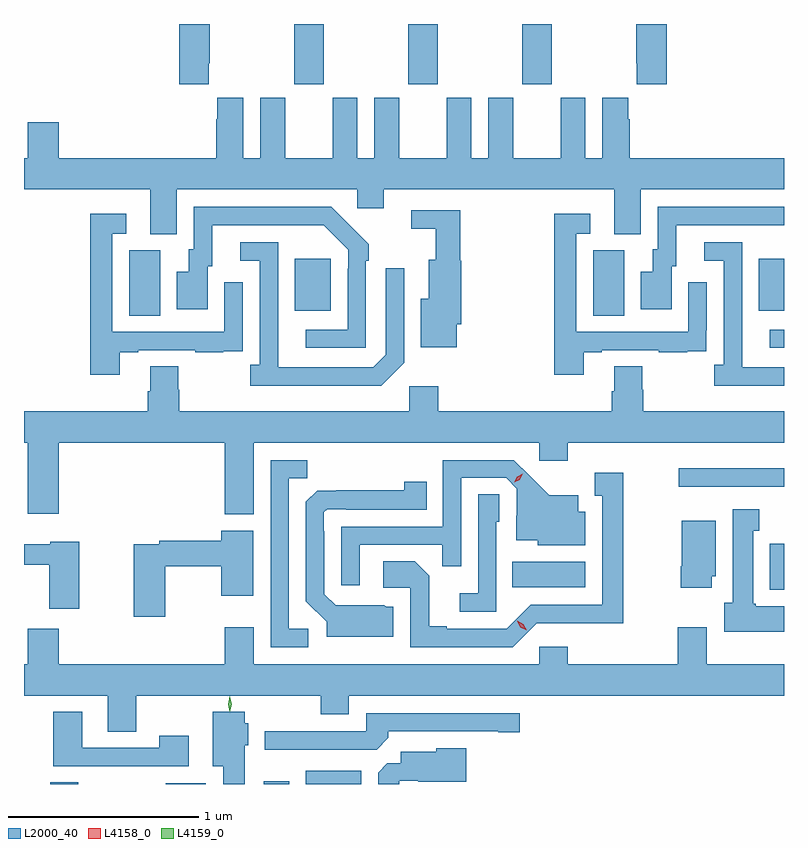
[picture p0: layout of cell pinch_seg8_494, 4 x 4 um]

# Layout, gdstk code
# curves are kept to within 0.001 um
import gdstk
lib = gdstk.Library(unit=1e-6, precision=1e-09)
def R(c, l, rs):  # rectangles x0, y0, x1, y1
    for r in rs: c.add(gdstk.rectangle(r[:2], r[2:], *l))
def A(c, l, x, y, w, h, nx, ny, dx, dy):  # array of equal rectangles
    R(c, l, [(x+i*dx, y+j*dy, x+i*dx+w, y+j*dy+h) for i in range(nx) for j in range(ny)])
def P(c, l, *ps):  # polygons
    for p in ps: c.add(gdstk.Polygon(p, *l))
L2000_40 = (2000, 40)
L4158_0 = (4158, 0)
L4159_0 = (4159, 0)

pinch_seg8_494 = lib.new_cell('pinch_seg8_494')
A(pinch_seg8_494, L2000_40, 154.423, 1126.377, 0.155, 0.318, 3, 1, 0.6, 0)
R(pinch_seg8_494, L2000_40, [(153.14,1122.695,153.286,1122.704), (153.746,1122.695,153.958,1122.7), (154.262,1122.695,154.396,1122.709), (154.484,1122.695,154.777,1122.766), (156.926,1123.718,157.001,1123.96), (155.572,1123.73,155.956,1123.864), (156.447,1124.259,157.001,1124.356), (156.927,1124.991,157.001,1125.087), (153.554,1125.16,153.718,1125.504), (155.996,1125.16,156.16,1125.504), (154.427,1125.185,154.615,1125.46), (156.869,1125.185,157.001,1125.46)])
P(pinch_seg8_494, L2000_40, [(156.383,1126.695),(156.223,1126.695),(156.223,1126.489),(156.227,1126.489),(156.227,1126.377),(156.383,1126.377)],
  [(153.973,1126.489),(153.978,1126.489),(153.978,1126.695),(153.818,1126.695),(153.818,1126.377),(153.973,1126.377)],
  [(153.805,1125.824),(154.755,1125.824),(154.755,1125.726),(154.894,1125.726),(154.894,1125.824),(156.107,1125.824),(156.107,1125.589),(156.247,1125.589),(156.247,1125.824),(157.001,1125.824),(157.001,1125.988),(156.188,1125.988),(156.188,1126.193),(156.181,1126.193),(156.181,1126.306),(156.044,1126.306),(156.044,1125.988),(155.956,1125.988),(155.956,1126.306),(155.825,1126.306),(155.825,1125.988),(155.575,1125.988),(155.575,1126.306),(155.444,1126.306),(155.444,1125.988),(155.356,1125.988),(155.356,1126.306),(155.225,1126.306),(155.225,1125.988),(154.975,1125.988),(154.975,1126.306),(154.844,1126.306),(154.844,1125.988),(154.756,1125.988),(154.756,1126.306),(154.625,1126.306),(154.625,1125.988),(154.375,1125.988),(154.375,1126.306),(154.244,1126.306),(154.244,1125.988),(154.156,1125.988),(154.156,1126.306),(154.019,1126.306),(154.019,1126.193),(154.013,1126.193),(154.013,1125.988),(153.184,1125.988),(153.184,1126.177),(153.02,1126.177),(153.02,1125.988),(153.001,1125.988),(153.001,1125.824),(153.665,1125.824),(153.665,1125.589),(153.805,1125.589)],
  [(154.8,1125.449),(154.815,1125.449),(154.815,1125.537),(154.618,1125.732),(153.894,1125.732),(153.894,1125.51),(153.869,1125.51),(153.869,1125.391),(153.806,1125.391),(153.806,1125.195),(153.967,1125.195),(153.967,1125.42),(153.991,1125.42),(153.991,1125.636),(154.579,1125.636),(154.707,1125.507),(154.707,1125.407),(154.704,1125.407),(154.704,1125.087),(154.485,1125.087),(154.485,1124.991),(154.8,1124.991)],
  [(156.409,1125.42),(156.433,1125.42),(156.433,1125.636),(157.001,1125.636),(157.001,1125.732),(156.336,1125.732),(156.336,1125.51),(156.311,1125.51),(156.311,1125.391),(156.248,1125.391),(156.248,1125.195),(156.409,1125.195)],
  [(155.278,1125.114),(155.303,1125.114),(155.303,1125.45),(155.297,1125.45),(155.297,1125.714),(155.04,1125.714),(155.04,1125.617),(155.169,1125.617),(155.169,1125.454),(155.132,1125.454),(155.132,1125.25),(155.09,1125.25),(155.09,1124.993),(155.278,1124.993)],
  [(155.947,1124.967),(156.043,1124.967),(156.043,1124.979),(156.343,1124.979),(156.343,1124.967),(156.491,1124.967),(156.491,1124.973),(156.593,1124.973),(156.593,1125.082),(156.594,1125.082),(156.594,1125.337),(156.498,1125.337),(156.498,1125.075),(155.907,1125.075),(155.907,1125.591),(155.98,1125.591),(155.98,1125.697),(155.791,1125.697),(155.791,1124.85),(155.947,1124.85)],
  [(153.505,1124.967),(153.601,1124.967),(153.601,1124.979),(153.901,1124.979),(153.901,1124.967),(154.049,1124.967),(154.049,1124.973),(154.151,1124.973),(154.151,1125.082),(154.152,1125.082),(154.152,1125.337),(154.056,1125.337),(154.056,1125.075),(153.465,1125.075),(153.465,1125.591),(153.538,1125.591),(153.538,1125.697),(153.349,1125.697),(153.349,1124.85),(153.505,1124.85)],
  [(157.001,1124.889),(156.781,1124.889),(156.781,1125.089),(156.78,1125.089),(156.78,1125.546),(156.582,1125.546),(156.582,1125.45),(156.684,1125.45),(156.684,1124.902),(156.633,1124.902),(156.633,1124.792),(157.001,1124.792)],
  [(155.001,1124.913),(155.001,1125.409),(154.905,1125.409),(154.905,1124.955),(154.839,1124.889),(154.339,1124.889),(154.338,1125.546),(154.14,1125.546),(154.14,1125.45),(154.242,1125.45),(154.242,1124.902),(154.191,1124.902),(154.191,1124.792),(154.88,1124.792)],
  [(154.21,1124.492),(155.712,1124.492),(155.712,1124.397),(155.864,1124.397),(155.864,1124.492),(157.001,1124.492),(157.001,1124.656),(156.26,1124.656),(156.26,1124.769),(156.255,1124.769),(156.255,1124.894),(156.107,1124.894),(156.107,1124.762),(156.095,1124.762),(156.095,1124.656),(155.18,1124.656),(155.18,1124.788),(155.028,1124.788),(155.028,1124.656),(153.818,1124.656),(153.818,1124.769),(153.813,1124.769),(153.813,1124.894),(153.665,1124.894),(153.665,1124.762),(153.653,1124.762),(153.653,1124.656),(153.001,1124.656),(153.001,1124.492),(153.02,1124.492),(153.02,1124.118),(153.184,1124.118),(153.184,1124.492),(154.058,1124.492),(154.058,1124.114),(154.21,1124.114)],
  [(154.498,1123.512),(154.395,1123.512),(154.395,1124.305),(154.491,1124.305),(154.491,1124.4),(154.299,1124.4),(154.299,1123.416),(154.498,1123.416)],
  [(154.767,1123.953),(155.203,1123.953),(155.203,1123.84),(155.301,1123.84),(155.301,1124.307),(155.538,1124.307),(155.595,1124.25),(155.595,1124.108),(155.591,1124.108),(155.591,1123.979),(155.706,1123.979),(155.706,1123.952),(155.956,1123.952),(155.956,1124.128),(155.917,1124.128),(155.917,1124.215),(155.765,1124.215),(155.578,1124.4),(155.205,1124.4),(155.205,1124.049),(154.671,1124.049),(154.671,1123.74),(154.767,1123.74)],
  [(155.7,1123.542),(156.155,1123.541),(156.155,1124.332),(156.005,1124.332),(156.005,1124.211),(156.044,1124.211),(156.044,1123.638),(155.667,1123.638),(155.541,1123.512),(155.227,1123.512),(155.227,1123.525),(155.133,1123.525),(155.133,1123.792),(155.057,1123.868),(154.893,1123.868),(154.893,1123.728),(155.034,1123.728),(155.034,1123.416),(155.574,1123.416)],
  [(154.945,1123.627),(154.907,1123.627),(154.898,1123.636),(154.641,1123.635),(154.581,1123.695),(154.581,1124.024),(154.578,1124.024),(154.578,1124.124),(154.596,1124.142),(154.696,1124.142),(154.696,1124.139),(155.12,1124.139),(155.12,1124.287),(155.002,1124.287),(155.002,1124.24),(154.544,1124.239),(154.485,1124.18),(154.485,1123.658),(154.595,1123.548),(154.595,1123.469),(154.945,1123.469)],
  [(155.487,1124.076),(155.502,1124.076),(155.502,1124.219),(155.391,1124.219),(155.391,1123.699),(155.295,1123.699),(155.295,1123.602),(155.487,1123.602)],
  [(157.001,1123.63),(156.852,1123.63),(156.852,1123.644),(156.838,1123.644),(156.838,1124.027),(156.871,1124.027),(156.871,1124.14),(156.731,1124.14),(156.731,1123.65),(156.686,1123.65),(156.686,1123.496),(157.001,1123.496)],
  [(156.622,1123.788),(156.643,1123.788),(156.643,1124.08),(156.464,1124.08),(156.464,1123.84),(156.457,1123.84),(156.457,1123.728),(156.622,1123.728)],
  [(153.744,1123.84),(154.04,1123.84),(154.04,1123.686),(154.207,1123.686),(154.207,1124.029),(154.04,1124.029),(154.04,1123.976),(153.712,1123.976),(153.712,1123.956),(153.578,1123.956),(153.578,1123.575),(153.744,1123.575)],
  [(153.292,1123.969),(153.138,1123.969),(153.138,1123.957),(153.001,1123.957),(153.001,1123.848),(153.134,1123.848),(153.134,1123.617),(153.292,1123.617)],
  [(153.591,1123.16),(154.564,1123.16),(154.564,1123.061),(154.711,1123.061),(154.711,1123.16),(157.001,1123.16),(157.001,1123.324),(156.595,1123.324),(156.595,1123.519),(156.443,1123.519),(156.443,1123.324),(155.864,1123.324),(155.864,1123.417),(155.712,1123.417),(155.712,1123.324),(154.21,1123.324),(154.21,1123.519),(154.058,1123.519),(154.058,1123.324),(153.184,1123.324),(153.184,1123.513),(153.02,1123.513),(153.02,1123.324),(153.001,1123.324),(153.001,1123.16),(153.443,1123.16),(153.443,1122.97),(153.591,1122.97)],
  [(153.868,1122.949),(153.712,1122.949),(153.712,1122.885),(153.307,1122.885),(153.307,1123.075),(153.155,1123.075),(153.155,1122.789),(153.868,1122.789)],
  [(154.162,1122.9),(154.18,1122.9),(154.18,1123.014),(154.162,1123.014),(154.162,1123.075),(153.995,1123.075),(153.995,1122.788),(154.049,1122.788),(154.049,1122.695),(154.162,1122.695)],
  [(154.919,1122.938),(154.919,1122.972),(155.498,1122.972),(155.498,1122.967),(155.611,1122.967),(155.611,1123.068),(154.803,1123.068),(154.803,1122.972),(154.269,1122.972),(154.269,1122.876),(154.857,1122.876)],
  [(154.977,1122.711),(155.077,1122.711),(155.077,1122.707),(155.329,1122.707),(155.329,1122.883),(155.172,1122.883),(155.172,1122.865),(154.985,1122.865),(154.985,1122.804),(154.914,1122.804),(154.865,1122.755),(154.865,1122.695),(154.977,1122.695)])
P(pinch_seg8_494, L4158_0, [(155.646,1123.503),(155.614,1123.521),(155.596,1123.553),(155.596,1123.554),(155.596,1123.554),(155.628,1123.535),(155.646,1123.503),(155.646,1123.503)],
  [(155.58,1124.282),(155.58,1124.282),(155.597,1124.312),(155.627,1124.327),(155.627,1124.327),(155.627,1124.327),(155.61,1124.297),(155.58,1124.282)])
P(pinch_seg8_494, L4159_0, [(154.085,1123.074),(154.085,1123.075),(154.075,1123.116),(154.085,1123.156),(154.085,1123.157),(154.085,1123.156),(154.095,1123.116),(154.085,1123.075)])

lib.write_gds('pinch_seg8_494.gds')
